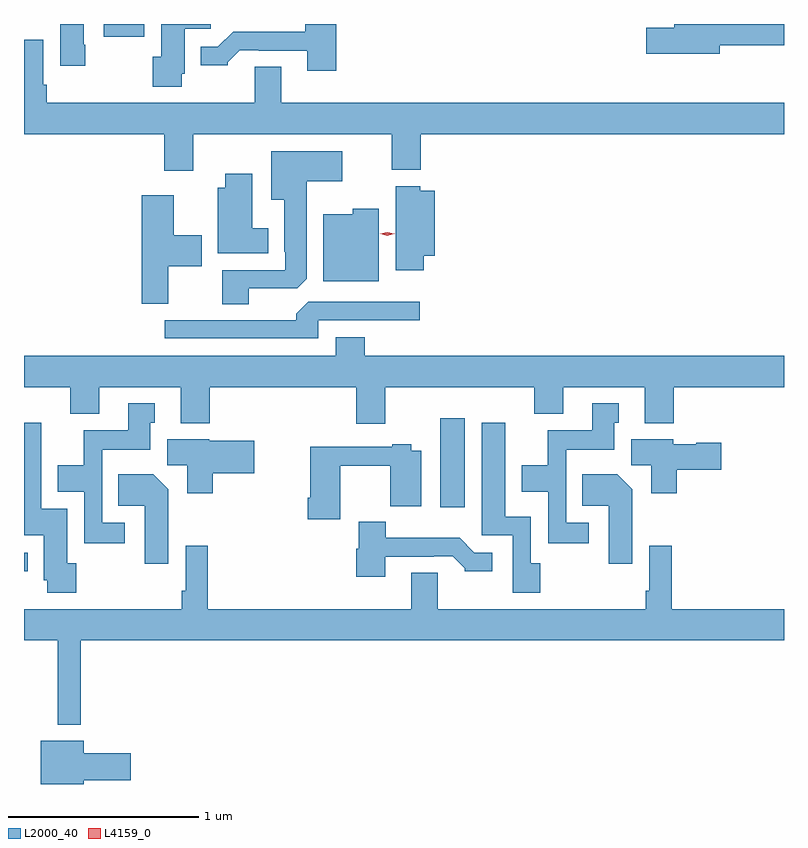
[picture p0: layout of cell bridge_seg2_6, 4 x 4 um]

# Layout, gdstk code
import gdstk
lib = gdstk.Library(unit=1e-6, precision=1e-09)
def R(c, l, rs):  # rectangles x0, y0, x1, y1
    for r in rs: c.add(gdstk.rectangle(r[:2], r[2:], *l))
def P(c, l, *ps):  # polygons
    for p in ps: c.add(gdstk.Polygon(p, *l))
L2000_40 = (2000, 40)
L4159_0 = (4159, 0)

bridge_seg2_6 = lib.new_cell('bridge_seg2_6')
R(bridge_seg2_6, L2000_40, [(648.242,642.671,648.262,642.768), (650.432,643.008,650.563,643.477), (648.663,645.483,648.876,645.551)])
P(bridge_seg2_6, L2000_40, [(648.564,645.442),(648.556,645.442),(648.556,645.551),(648.434,645.551),(648.434,645.33),(648.564,645.33)],
  [(651.904,645.438),(652.242,645.438),(652.242,645.551),(651.665,645.551),(651.665,645.53),(651.516,645.53),(651.516,645.395),(651.904,645.395)],
  [(649.071,645.288),(649.087,645.288),(649.087,645.525),(649.225,645.525),(649.225,645.551),(648.965,645.551),(648.965,645.378),(648.919,645.378),(648.919,645.222),(649.071,645.222)],
  [(649.886,645.551),(649.721,645.551),(649.721,645.511),(649.342,645.511),(649.263,645.432),(649.172,645.432),(649.172,645.335),(649.314,645.335),(649.314,645.35),(649.378,645.414),(649.477,645.414),(649.477,645.411),(649.733,645.411),(649.733,645.306),(649.886,645.306)],
  [(650.177,644.783),(650.33,644.783),(650.33,644.972),(652.242,644.972),(652.242,645.136),(649.597,645.136),(649.597,645.326),(649.457,645.326),(649.457,645.136),(648.362,645.136),(648.362,645.232),(648.342,645.232),(648.342,645.469),(648.242,645.469),(648.242,644.972),(648.98,644.972),(648.98,644.778),(649.132,644.778),(649.132,644.972),(650.177,644.972)],
  [(649.426,644.16),(649.68,644.16),(649.729,644.209),(649.729,644.723),(649.918,644.723),(649.918,644.881),(649.544,644.881),(649.544,644.627),(649.613,644.627),(649.613,644.353),(649.617,644.353),(649.617,644.256),(649.286,644.256),(649.286,644.077),(649.426,644.077)],
  [(649.528,644.476),(649.444,644.476),(649.444,644.764),(649.301,644.764),(649.301,644.689),(649.262,644.689),(649.262,644.345),(649.528,644.345)],
  [(650.345,644.33),(650.404,644.33),(650.404,644.674),(650.328,644.674),(650.328,644.698),(650.198,644.698),(650.198,644.256),(650.345,644.256)],
  [(649,644.276),(649.177,644.276),(649.177,644.439),(649.03,644.439),(649.03,644.65),(648.863,644.65),(648.863,644.079),(649,644.079)],
  [(650.11,644.578),(649.971,644.578),(649.971,644.551),(649.817,644.551),(649.817,644.198),(650.11,644.198)],
  [(649.791,643.992),(650.326,643.992),(650.326,644.088),(649.737,644.088),(649.676,644.026),(649.676,643.992),(648.984,643.992),(648.984,643.896),(649.791,643.896)],
  [(650.143,643.64),(650.927,643.64),(650.927,643.499),(651.079,643.499),(651.079,643.64),(651.509,643.64),(651.509,643.451),(651.662,643.451),(651.662,643.64),(652.242,643.64),(652.242,643.804),(650.036,643.804),(650.036,643.903),(649.883,643.903),(649.883,643.804),(648.242,643.804),(648.242,643.64),(648.485,643.64),(648.485,643.499),(648.637,643.499),(648.637,643.64),(649.067,643.64),(649.067,643.451),(649.22,643.451),(649.22,643.64),(649.991,643.64),(649.991,643.446),(650.143,643.446)],
  [(648.772,642.927),(648.654,642.927),(648.654,643.31),(648.907,643.31),(648.907,643.452),(648.931,643.452),(648.931,643.555),(648.791,643.555),(648.791,643.414),(648.556,643.414),(648.556,643.228),(648.419,643.228),(648.419,643.088),(648.558,643.088),(648.558,642.819),(648.772,642.819)],
  [(651.214,642.927),(651.096,642.927),(651.096,643.31),(651.349,643.31),(651.349,643.452),(651.373,643.452),(651.373,643.555),(651.233,643.555),(651.233,643.414),(650.998,643.414),(650.998,643.228),(650.861,643.228),(650.861,643.088),(651,643.088),(651,642.819),(651.214,642.819)],
  [(648.516,642.714),(648.469,642.714),(648.469,643),(648.334,643),(648.334,643.453),(648.242,643.453),(648.242,642.861),(648.347,642.861),(648.347,642.624),(648.364,642.624),(648.364,642.558),(648.516,642.558)],
  [(650.958,642.714),(650.91,642.714),(650.91,642.958),(650.776,642.958),(650.776,643.453),(650.651,643.453),(650.651,642.861),(650.814,642.861),(650.814,642.558),(650.958,642.558)],
  [(649.235,643.187),(649.453,643.187),(649.453,643.357),(649.218,643.357),(649.218,643.366),(648.995,643.366),(648.995,643.228),(649.1,643.228),(649.1,643.08),(649.235,643.08)],
  [(651.677,643.205),(651.913,643.205),(651.913,643.347),(651.78,643.347),(651.78,643.339),(651.66,643.339),(651.66,643.366),(651.437,643.366),(651.437,643.228),(651.542,643.228),(651.542,643.08),(651.677,643.08)],
  [(649.906,643.225),(650.17,643.225),(650.17,643.013),(650.332,643.013),(650.332,643.306),(650.28,643.306),(650.28,643.339),(650.18,643.339),(650.18,643.326),(649.748,643.326),(649.748,643.057),(649.736,643.057),(649.736,642.945),(649.906,642.945)],
  [(651.442,643.102),(651.364,643.18),(651.181,643.18),(651.181,643.016),(651.32,643.016),(651.32,642.711),(651.442,642.711)],
  [(649,643.102),(648.922,643.18),(648.739,643.18),(648.739,643.016),(648.878,643.016),(648.878,642.711),(649,642.711)],
  [(650.143,642.747),(650.399,642.747),(650.399,642.75),(650.498,642.75),(650.562,642.686),(650.562,642.671),(650.707,642.671),(650.707,642.768),(650.613,642.768),(650.535,642.847),(650.146,642.847),(650.146,642.931),(650.003,642.931),(650.003,642.789),(649.991,642.789),(649.991,642.642),(650.143,642.642)],
  [(648.541,642.308),(652.242,642.308),(652.242,642.472),(651.65,642.472),(651.65,642.805),(651.534,642.805),(651.534,642.568),(651.514,642.568),(651.514,642.472),(650.419,642.472),(650.419,642.662),(650.279,642.662),(650.279,642.472),(649.208,642.472),(649.208,642.805),(649.092,642.805),(649.092,642.568),(649.072,642.568),(649.072,642.472),(648.242,642.472),(648.242,642.308),(648.419,642.308),(648.419,641.864),(648.541,641.864)],
  [(648.556,641.572),(648.805,641.572),(648.805,641.714),(648.556,641.714),(648.556,641.779),(648.329,641.779),(648.329,641.551),(648.556,641.551)])
P(bridge_seg2_6, L4159_0, [(650.154,644.436),(650.117,644.446),(650.117,644.446),(650.117,644.446),(650.154,644.456),(650.191,644.447),(650.192,644.447),(650.191,644.447)])

lib.write_gds('bridge_seg2_6.gds')
